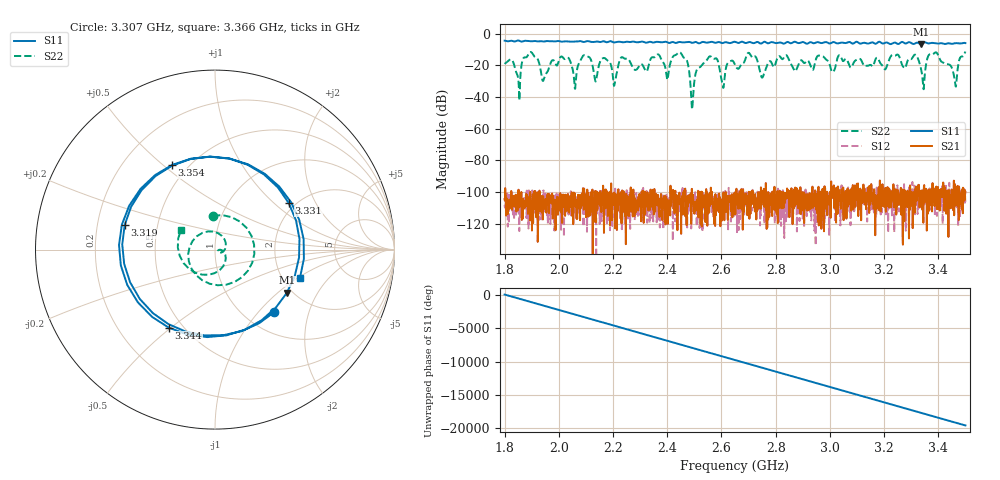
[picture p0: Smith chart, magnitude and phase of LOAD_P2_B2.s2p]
# Hz S RI R 50
! RAW DATA - UNCALIBRATED
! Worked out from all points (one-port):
!   1601 points, 1.8 GHz to 3.5 GHz, reference 50 ohm
!   lowest |S11| = -6.6 dB at 3.336 GHz (marker M1), VSWR 2.76, Z = 93.9 - j57.6 ohm
!   |S11| at or under -10 dB: nowhere
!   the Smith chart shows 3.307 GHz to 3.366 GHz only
!   S11 on the Smith chart (normalised r, x): 3.307 GHz: 1.35, -1.22; 3.319 GHz: 0.32, +0.12; 3.331 GHz: 1.85, +1.25; 3.344 GHz: 0.42, -0.49; 3.354 GHz: 0.41, +0.54; 3.366 GHz: 2.47, -1.06
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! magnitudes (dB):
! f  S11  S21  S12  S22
! 1.8 GHz  -4.3  -104.4  -108.1  -19.0
! 2.059 GHz  -4.9  -100.9  -108.2  -34.7
! 2.084 GHz  -4.7  -101.5  -108.7  -15.6
! 2.206 GHz  -5.4  -101.3  -109.2  -31.6
! 2.367 GHz  -5.1  -107.0  -110.8  -13.0
! 2.4 GHz  -5.4  -105.5  -118.2  -29.1
! 2.452 GHz  -5.3  -105.3  -108.5  -12.7
! 2.493 GHz  -5.7  -102.1  -101.9  -46.7
! 2.554 GHz  -5.4  -113.1  -101.7  -14.5
! 2.604 GHz  -5.8  -110.0  -106.7  -32.1
! 2.65 GHz  -5.0  -100.1  -105.4  -19.5
! 2.934 GHz  -5.5  -102.4  -104.0  -22.3
! 3.217 GHz  -6.1  -97.7  -105.5  -17.0
! 3.307 GHz  -6.4  -106.2  -114.6  -14.5
! 3.319 GHz  -5.7  -100.9  -101.7  -13.7
! 3.331 GHz  -6.3  -109.7  -102.4  -18.7
! 3.336 GHz  -6.6  -99.1  -103.9  -22.2
! 3.344 GHz  -5.9  -111.0  -111.5  -31.8
! 3.354 GHz  -5.5  -97.9  -107.2  -19.7
! 3.366 GHz  -6.0  -111.7  -102.0  -13.2
! 3.462 GHz  -5.9  -95.0  -103.6  -30.5
! 3.5 GHz  -5.8  -99.8  -106.3  -11.2
